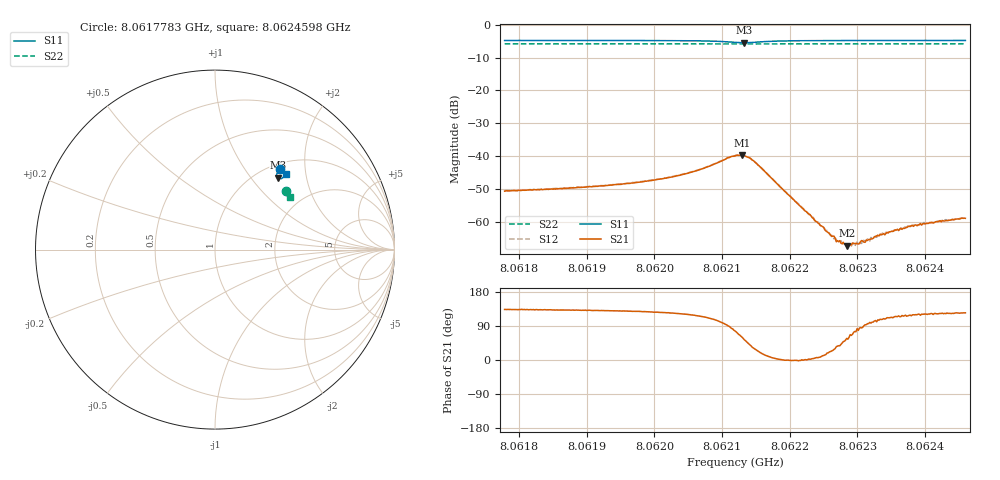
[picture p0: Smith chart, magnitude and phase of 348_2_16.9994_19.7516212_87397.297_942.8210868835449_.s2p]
#  HZ  S  RI  R  50.00
! Rohde & Schwarz Vector Network Analyzer
! Rohde-Schwarz,ZNB20-2Port,1311601062101988,3.16
! Created: UTC 3/20/2024, 11:07:43 PM
! freq[Hz]  re:S11  im:S11  re:S21  im:S21  re:S12  im:S12  re:S22  im:S22
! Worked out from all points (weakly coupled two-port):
!   401 points, 8.0617783 GHz to 8.0624598 GHz, reference 50 ohm
!   highest |S21| = -39.62 dB at 8.0621293 GHz (marker M1); lowest = -67.2 dB at 8.0622843 GHz (marker M2)
!   lowest |S11| = -5.5 dB at 8.0621327 GHz (marker M3), VSWR 3.27, Z = 61.6 + j68.7 ohm
!   |S11| at or under -10 dB: nowhere
!   |S22| runs from -5.9 to -5.8 dB; largest |S21 - S12| = 0.00074
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8.06177834e9  0.3628 0.4474  -0.00202 0.00214  -0.00191 0.00228  0.3958 0.3251
8.06189248e9  0.3705 0.4407  -0.00221 0.00253  -0.00209 0.00271  0.3999 0.3193
8.0619504e9  0.3747 0.4364  -0.00236 0.00289  -0.00222 0.00308  0.4021 0.3163
8.06200662e9  0.3793 0.431  -0.00261 0.00363  -0.00239 0.0038  0.4042 0.3135
8.06205943e9  0.3838 0.4213  -0.00278 0.00522  -0.0025 0.00542  0.4062 0.3105
8.06211906e9  0.3667 0.395  0.00232 0.00987  0.00292 0.00979  0.4073 0.3067
8.06212928e9  0.354 0.3973  0.00511 0.0091  0.00573 0.00869  0.4069 0.3065
8.06213269e9  0.3502 0.3999  0.00605 0.0082  0.00657 0.00795  0.407 0.3066
8.06214291e9  0.3437 0.4114  0.00725 0.00548  0.00763 0.00508  0.4072 0.3066
8.06214972e9  0.3439 0.4192  0.00706 0.00361  0.00728 0.00318  0.4074 0.3066
8.0622332e9  0.3728 0.4345  0.00116 7.23e-05  0.00119 -2.71e-05  0.4118 0.303
8.06226216e9  0.3772 0.4328  0.000552 0.000244  0.000579 0.000241  0.413 0.3014
8.06227238e9  0.3785 0.432  0.000396 0.000306  0.000431 0.000282  0.4135 0.301
8.0622809e9  0.3794 0.4315  0.000296 0.000348  0.000315 0.000333  0.4135 0.3005
8.06228431e9  0.3799 0.4314  0.000237 0.000365  0.000268 0.000337  0.4138 0.3003
8.06230305e9  0.3817 0.4301  4.8e-05 0.000467  8.96e-05 0.000473  0.4146 0.2993
8.06231156e9  0.3827 0.4296  -2.5e-05 0.000491  1.16e-05 0.000516  0.4148 0.2989
8.06231497e9  0.383 0.4292  -5.37e-05 0.00052  -2.93e-05 0.000552  0.4151 0.2987
8.06234734e9  0.3856 0.4274  -0.00026 0.00066  -0.000228 0.00067  0.4162 0.297
8.06238312e9  0.3885 0.4253  -0.000422 0.000749  -0.000382 0.000808  0.4174 0.2951
8.06243422e9  0.3918 0.4225  -0.000576 0.000888  -0.000495 0.000922  0.4192 0.2925
8.06245978e9  0.3935 0.421  -0.000645 0.000936  -0.000604 0.000962  0.4201 0.2913
